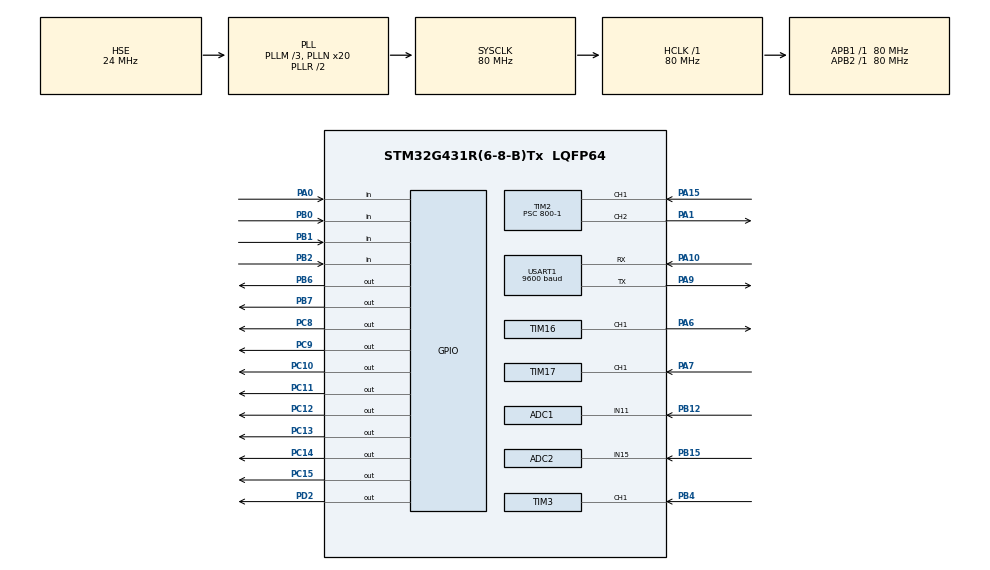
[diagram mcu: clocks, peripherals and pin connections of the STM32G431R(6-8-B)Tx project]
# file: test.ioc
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ADC1.Channel-1\#ChannelRegularConversion=ADC_CHANNEL_11
ADC1.NbrOfConversionFlag=1
ADC1.OffsetNumber-1\#ChannelRegularConversion=ADC_OFFSET_NONE
ADC1.Rank-1\#ChannelRegularConversion=1
ADC1.SamplingTime-1\#ChannelRegularConversion=ADC_SAMPLETIME_2CYCLES_5
ADC1.master=1
ADC2.Channel-0\#ChannelRegularConversion=ADC_CHANNEL_15
ADC2.NbrOfConversionFlag=1
ADC2.OffsetNumber-0\#ChannelRegularConversion=ADC_OFFSET_NONE
ADC2.Rank-0\#ChannelRegularConversion=1
ADC2.SamplingTime-0\#ChannelRegularConversion=ADC_SAMPLETIME_2CYCLES_5
Mcu.Family=STM32G4
Mcu.Name=STM32G431R(6-8-B)Tx
Mcu.Package=LQFP64
NVIC.PriorityGroup=NVIC_PRIORITYGROUP_4
NVIC.TIM1_TRG_COM_TIM17_IRQn=true\:0\:0\:false\:false\:true\:true\:true
NVIC.TIM2_IRQn=true\:0\:0\:false\:false\:true\:true\:true
NVIC.TIM3_IRQn=true\:0\:0\:false\:false\:true\:true\:true
NVIC.TIM4_IRQn=true\:0\:0\:false\:false\:true\:true\:true
NVIC.USART1_IRQn=true\:0\:0\:false\:false\:true\:true\:true
PA0.GPIO_PuPd=GPIO_PULLUP
PA0.Signal=GPIO_Input
PA1.Signal=S_TIM2_CH2
PA10.Mode=Asynchronous
PA10.Signal=USART1_RX
PA13.Mode=Serial_Wire
PA13.Signal=SYS_JTMS-SWDIO
PA14.Mode=Serial_Wire
PA14.Signal=SYS_JTCK-SWCLK
PA15.Signal=S_TIM2_CH1
PA6.Signal=S_TIM16_CH1
PA7.Signal=S_TIM17_CH1
PA9.Mode=Asynchronous
PA9.Signal=USART1_TX
PB0.GPIO_PuPd=GPIO_PULLUP
PB0.Signal=GPIO_Input
PB1.GPIO_PuPd=GPIO_PULLUP
PB1.Signal=GPIO_Input
PB12.Mode=IN11-Single-Ended
PB12.Signal=ADC1_IN11
PB15.Mode=IN15-Single-Ended
PB15.Signal=ADC2_IN15
PB2.GPIO_PuPd=GPIO_PULLUP
PB2.Signal=GPIO_Input
PB4.Signal=S_TIM3_CH1
PB6.Signal=GPIO_Output
PB7.Signal=GPIO_Output
PC10.PinState=GPIO_PIN_SET
PC10.Signal=GPIO_Output
PC11.PinState=GPIO_PIN_SET
PC11.Signal=GPIO_Output
PC12.PinState=GPIO_PIN_SET
PC12.Signal=GPIO_Output
PC13.PinState=GPIO_PIN_SET
PC13.Signal=GPIO_Output
PC14-OSC32_IN.PinState=GPIO_PIN_SET
PC14-OSC32_IN.Signal=GPIO_Output
PC15-OSC32_OUT.PinState=GPIO_PIN_SET
PC15-OSC32_OUT.Signal=GPIO_Output
PC8.PinState=GPIO_PIN_SET
PC8.Signal=GPIO_Output
PC9.PinState=GPIO_PIN_SET
PC9.Signal=GPIO_Output
PD2.Signal=GPIO_Output
PF0-OSC_IN.Mode=HSE-External-Oscillator
PF0-OSC_IN.Signal=RCC_OSC_IN
PF1-OSC_OUT.Mode=HSE-External-Oscillator
PF1-OSC_OUT.Signal=RCC_OSC_OUT
ProjectManager.HeapSize=0x200
ProjectManager.StackSize=0x400
ProjectManager.TargetToolchain=MDK-ARM V5.32
RCC.ADC12Freq_Value=80000000
RCC.AHBFreq_Value=80000000
RCC.APB1Freq_Value=80000000
RCC.APB1TimFreq_Value=80000000
RCC.APB2Freq_Value=80000000
RCC.APB2TimFreq_Value=80000000
RCC.CortexFreq_Value=80000000
RCC.EXTERNAL_CLOCK_VALUE=12288000
RCC.HCLKFreq_Value=80000000
RCC.HSE_VALUE=24000000
RCC.HSI48_VALUE=48000000
RCC.HSI_VALUE=16000000
RCC.LSE_VALUE=32768
RCC.PLLM=RCC_PLLM_DIV3
RCC.PLLN=20
RCC.PLLSourceVirtual=RCC_PLLSOURCE_HSE
RCC.RTCClockSelection=RCC_RTCCLKSOURCE_HSE_DIV32
RCC.SYSCLKFreq_VALUE=80000000
RCC.SYSCLKSource=RCC_SYSCLKSOURCE_PLLCLK
RCC.USBFreq_Value=80000000
RCC.VCOOutputFreq_Value=160000000
RTC.AsynchPrediv=125
RTC.Hours=23
RTC.Minutes=59
RTC.Month=RTC_MONTH_MARCH
RTC.Seconds=55
RTC.SynchPrediv=6000
RTC.WeekDay=RTC_WEEKDAY_FRIDAY
RTC.Year=24
SH.S_TIM16_CH1.0=TIM16_CH1,PWM Generation1 CH1
SH.S_TIM17_CH1.0=TIM17_CH1,Input_Capture1_from_TI1
SH.S_TIM2_CH1.0=TIM2_CH1,Input_Capture1_from_TI1
SH.S_TIM2_CH2.0=TIM2_CH2,PWM Generation2 CH2
SH.S_TIM3_CH1.0=TIM3_CH1,Input_Capture1_from_TI1
TIM16.Channel=TIM_CHANNEL_1
TIM16.PeriodNoDither=100-1
TIM16.Prescaler=8000-1
TIM16.PulseNoDither_1=20
TIM17.Channel=TIM_CHANNEL_1
TIM17.Prescaler=80-1
TIM2.Channel-Input_Capture1_from_TI1=TIM_CHANNEL_1
TIM2.Channel-PWM\ Generation2\ CH2=TIM_CHANNEL_2
TIM2.CounterMode=TIM_COUNTERMODE_UP
TIM2.PeriodNoDither=100
TIM2.Prescaler=800-1
TIM2.PulseNoDither_2=50
TIM3.Channel-Input_Capture1_from_TI1=TIM_CHANNEL_1
TIM3.Channel-Input_Capture2_from_TI1_63=TIM_CHANNEL_2
TIM3.Channel-Input_Capture2_from_TI2=TIM_CHANNEL_2
TIM3.Prescaler=80-1
TIM4.PeriodNoDither=10000-1
TIM4.Prescaler=80-1
USART1.BaudRate=9600
USART1.VirtualMode-Asynchronous=VM_ASYNC
VP_RTC_VS_RTC_Activate.Mode=RTC_Enabled
VP_RTC_VS_RTC_Calendar.Mode=RTC_Calendar
VP_SYS_VS_DBSignals.Mode=DisableDeadBatterySignals
VP_TIM16_VS_ClockSourceINT.Mode=Enable_Timer
VP_TIM17_VS_ClockSourceINT.Mode=Enable_Timer
VP_TIM2_VS_ClockSourceINT.Mode=Internal
VP_TIM3_VS_ClockSourceINT.Mode=Internal
VP_TIM3_VS_indirect_ch1.Mode=Input_Capture2_from_TI1_63
VP_TIM4_VS_ClockSourceINT.Mode=Internal
board=custom

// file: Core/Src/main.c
/* USER CODE BEGIN Header */
/**
 ******************************************************************************
 * @file           : main.c
 * @brief          : Main program body
 ******************************************************************************
 * @attention
 *
 * Copyright (c) 2024 STMicroelectronics.
 * All rights reserved.
 *
 * This software is licensed under terms that can be found in the LICENSE file
 * in the root directory of this software component.
 * If no LICENSE file comes with this software, it is provided AS-IS.
 *
 ******************************************************************************
 */
/* USER CODE END Header */
#include "main.h"
#include "adc.h"
#include "rtc.h"
#include "tim.h"
#include "usart.h"
#include "gpio.h"

/* USER CODE BEGIN Includes */
#include "LED.h"
#include "lcd.h"
#include "stdio.h"
#include "string.h"
#include "Key.h"
#include "interrupt.h"
#include "badc.h"
#include "i2c - hal.h"
#include "PWM.h"
/* USER CODE END Includes */

/* USER CODE BEGIN PTD */

/*执行速度控制变量*/
__IO uint32_t uwTick_LED_Speed_Ctrl;
__IO uint32_t uwTick_KEY_Speed_Ctrl;
__IO uint32_t uwTick_LCD_Speed_Ctrl;
__IO uint32_t uwTick_RTC_Speed_Ctrl;
__IO uint32_t uwTick_Time_Count;
__IO uint32_t uwTick_V_Count;

/* USER CODE END PTD */

/* USER CODE BEGIN PD */
/*全局变量区*/
uint8_t ucLED;

uint8_t LCD_String_Disp[21]; // 显示屏显示数据存储数组
uint8_t LCD_Disp_Change = 0; // 显示屏切换界面变量
uint8_t LCD_Line_Change = 0; // 显示屏选择行 1-第一行 2-第二行 3-第三行 默认为0不选择 无高亮文本

uint8_t PA6_duty = 10, PA7_duty = 10;
uint16_t PA6_Frq = 100, PA7_Frq = 200;

uint8_t EEPROM_Save[4] = {10, 10}; // EEPROM芯片中存取的数据
uint8_t EEPROM_Disp[4] = {10, 10}; // EEPROM数据显示数组

float ADC_Value;
uint8_t First_Charge = 0;
uint8_t PWM_Output_Mode = 0;                  // 0-低频 1-高频
uint8_t Mode_Change_Flag = 0;                 // 高低频切换标志位
uint8_t Mode_Change_Num = 0;                  // 高低频切换次数
float Hight_MAX_V = 0, Low_MAX_V = 0;         // 高低频最大速度
float Hight_MAX_V_Old = 0, Low_MAX_V_Old = 0; // 高低频最大速度旧值
float Big_flag;                               // 速度最大标志位
float Now_V = 0;                              // 实时速度

uint8_t PA1_duty = 50, PA1_duty_Lock_flag = 0; // PA1占空比 PA1占空比受控标志位
float PA1_K = 37.5f, PA1_B = -27.5f;
uint16_t PA1_Frq = 4000; // PA1频率变量

uint8_t PA7_K = 1, PA7_R = 1, PA7_K_buff = 1, PA7_R_buff = 1;

float PA7_V;

// 用于存储时间和日期的结构体
RTC_TimeTypeDef RTC_Time = {0};
RTC_DateTypeDef RTC_Date = {0};
char dateTimeBuffer[50]; // 存储日期时间字符串

/*拓展变量区*/
extern uint8_t single_key_flag[4]; // 按键单击
extern uint8_t double_key_flag[4]; // 按键双击
extern uint8_t long_key_flag[4];   // 按键长按
extern uint16_t frq1, frq2;        // 输入捕获测量的频率
extern float duty1, duty2;         // 占空比

extern char rxdata[30]; // 串口接收数组
extern uint8_t rxdat;
extern unsigned char rx_pointer;

/* USER CODE END PD */

/* USER CODE BEGIN PM */

/*子函数声明区*/

void LCD_Proc(void);
void KEY_Proc(void);
void LED_Proc(void);
void RTC_Proc(void);
void USART_Proc(void);

/* USER CODE END PM */

void SystemClock_Config(void);

int main(void)
{

  /* MCU Configuration--------------------------------------------------------*/

  /* Reset of all peripherals, Initializes the Flash interface and the Systick. */
  HAL_Init();

  /* Configure the system clock */
  SystemClock_Config();

  /* Initialize all configured peripherals */
  MX_GPIO_Init();
  MX_TIM2_Init();
  MX_TIM16_Init();
  MX_TIM17_Init();
  MX_TIM3_Init();
  MX_TIM4_Init();
  MX_ADC2_Init();
  MX_ADC1_Init();
  MX_USART1_UART_Init();
  MX_RTC_Init();
  /* USER CODE BEGIN 2 */

  /*LED灯初始化*/
  LED_Init();

  /*LCD显示屏初始化*/
  LCD_Init();
  LCD_Clear(Black);
  LCD_SetBackColor(Black);
  LCD_SetTextColor(White);

  /*定时器4基本中断开启,按键中断定时器 时间到就进中断检测按键是否按下*/
  HAL_TIM_Base_Start_IT(&htim4);

  /*定时器16通道1 PWM生成,PA6 引脚PWM生成定时器*/
  HAL_TIM_PWM_Start(&htim16, TIM_CHANNEL_1);

  /*定时器2通道2 PWM生成,PA1 引脚PWM生成定时器*/
  HAL_TIM_PWM_Start(&htim2, TIM_CHANNEL_2);

  // 初始化PA1输出4Khz
  PWM_Set_Frequency(&htim2, TIM_CHANNEL_2, 4000);

  __HAL_TIM_SET_COMPARE(&htim16, TIM_CHANNEL_1, PA6_duty);

  /*定时器17通道1 输入捕获中断开启,PA7引脚*/
  HAL_TIM_IC_Start_IT(&htim17, TIM_CHANNEL_1);

  /*定时器3通道1 输入捕获中断开启,PB4引脚*/
  HAL_TIM_IC_Start_IT(&htim3, TIM_CHANNEL_1);
  /*定时器3通道2 输入捕获中断开启,PB4引脚*/
  HAL_TIM_IC_Start_IT(&htim3, TIM_CHANNEL_2);

  HAL_ADCEx_Calibration_Start(&hadc1, ADC_SINGLE_ENDED); // 校准ADC1，PB12引脚
  HAL_ADCEx_Calibration_Start(&hadc2, ADC_SINGLE_ENDED); // 校准ADC2，PB15引脚

  /********************************串口接收中断开启***********************************************************/
  HAL_UART_Receive_IT(&huart1, &rxdat, 1);

  /********************************EEPROM存储读取***********************************************************/
  I2C_24c02_Read((uint8_t *)&EEPROM_Save[3], 0x37, 1); // 读取一次判断是否第一次上电

  if (EEPROM_Save[3] != 9) // 初次上电 占空比为10，10
  {
    EEPROM_Save[3] = 9; // 将该位的值改为9写入eeprom中 用于判断非第一次上电 确保再次上电读取eeprom中设置的阈值 以免第一次直接赋值0
    I2C_24c02_Write((uint8_t *)&EEPROM_Save[3], 0x37, 1);
    HAL_Delay(10);
    I2C_24c02_Write((uint8_t *)EEPROM_Save, 0x00, 2); // 将阈值写入EEPROM中
  }
  else // 再次上电读取eeprom中设置的阈值 更新显示的阈
  {
    I2C_24c02_Read(EEPROM_Save, 0x00, 2); // 读取EEPROM中的值
    HAL_Delay(10);
    EEPROM_Disp[0] = EEPROM_Save[0];
    EEPROM_Disp[1] = EEPROM_Save[1];
  }
  /********************************EEPROM存储读取***********************************************************/

  ADC_Value = Get_ADC_Average(&hadc2, 10);

  /* USER CODE END 2 */

  /* Infinite loop */
  while (1)
  {

    /* USER CODE BEGIN 3 */
    /*代码写在该行下面 否则会被初始化*/

    LCD_Proc();
    KEY_Proc();
    LED_Proc();
    RTC_Proc();

    if (rx_pointer != 0)
    {
      int temp = rx_pointer;
      HAL_Delay(1);
      if (temp == rx_pointer)
        USART_Proc(); // 完成接收
    }
  }
  /* USER CODE END 3 */
}

void SystemClock_Config(void)
{
  RCC_OscInitTypeDef RCC_OscInitStruct = {0};
  RCC_ClkInitTypeDef RCC_ClkInitStruct = {0};

  /** Configure the main internal regulator output voltage
   */
  HAL_PWREx_ControlVoltageScaling(PWR_REGULATOR_VOLTAGE_SCALE1);
  /** Initializes the RCC Oscillators according to the specified parameters
   * in the RCC_OscInitTypeDef structure.
   */
  RCC_OscInitStruct.OscillatorType = RCC_OSCILLATORTYPE_HSE;
  RCC_OscInitStruct.HSEState = RCC_HSE_ON;
  RCC_OscInitStruct.PLL.PLLState = RCC_PLL_ON;
  RCC_OscInitStruct.PLL.PLLSource = RCC_PLLSOURCE_HSE;
  RCC_OscInitStruct.PLL.PLLM = RCC_PLLM_DIV3;
  RCC_OscInitStruct.PLL.PLLN = 20;
  RCC_OscInitStruct.PLL.PLLP = RCC_PLLP_DIV2;
  RCC_OscInitStruct.PLL.PLLQ = RCC_PLLQ_DIV2;
  RCC_OscInitStruct.PLL.PLLR = RCC_PLLR_DIV2;
  if (HAL_RCC_OscConfig(&RCC_OscInitStruct) != HAL_OK)
  {
    Error_Handler();
  }
  /** Initializes the CPU, AHB and APB buses clocks
   */
  RCC_ClkInitStruct.ClockType = RCC_CLOCKTYPE_HCLK | RCC_CLOCKTYPE_SYSCLK | RCC_CLOCKTYPE_PCLK1 | RCC_CLOCKTYPE_PCLK2;
  RCC_ClkInitStruct.SYSCLKSource = RCC_SYSCLKSOURCE_PLLCLK;
  RCC_ClkInitStruct.AHBCLKDivider = RCC_SYSCLK_DIV1;
  RCC_ClkInitStruct.APB1CLKDivider = RCC_HCLK_DIV1;
  RCC_ClkInitStruct.APB2CLKDivider = RCC_HCLK_DIV1;

  if (HAL_RCC_ClockConfig(&RCC_ClkInitStruct, FLASH_LATENCY_2) != HAL_OK)
  {
    Error_Handler();
  }
}

/* USER CODE BEGIN 4 */

/*****************************************LED灯控制函数***************************************************/
void LED_Proc(void)
{
  if ((uwTick - uwTick_LED_Speed_Ctrl) < 100)
    return;
  uwTick_LED_Speed_Ctrl = uwTick; // 200ms执行一次

  if (LCD_Disp_Change == 0)
    ucLED |= 0x01;
  else
    ucLED &= 0x06;

  if (Mode_Change_Flag == 1)
    ucLED ^= 0x02;
  else
    ucLED &= 0x05;

  if (PA1_duty_Lock_flag)
    ucLED |= 0x04;
  else
    ucLED &= 0x03;

  // ucLED ^= 0x01;  //异或运算 相同为0，不同为1

  LED_Disp(ucLED);
}

/*****************************************显示屏控制函数***************************************************/
void LCD_Proc(void)
{
  if ((uwTick - uwTick_LCD_Speed_Ctrl) < 300)
    return;
  uwTick_LCD_Speed_Ctrl = uwTick;

  ADC_Value = Get_ADC_Average(&hadc2, 10);

  if (PA1_duty_Lock_flag == 0)
  {
    if (ADC_Value >= 1.0f && ADC_Value <= 3.0f)
      PA1_duty = PA1_K * ADC_Value + PA1_B;
    else if (ADC_Value < 1.0f)
      PA1_duty = 10;
    else if (ADC_Value > 3.0f)
      PA1_duty = 85;
  }

  PWM_Set_Duty(&htim2, TIM_CHANNEL_2, PA1_duty);

  Now_V = (frq1 * 2.0f * 3.14f * PA7_R) / (100.0f * PA7_K);

  if (PWM_Output_Mode)
  {
    if (Now_V > Hight_MAX_V && Big_flag == 0)
    {
      Big_flag = 1;
      Hight_MAX_V_Old = Now_V;
      uwTick_V_Count = uwTick;
    }

    if (uwTick - uwTick_V_Count > 2000 && Big_flag == 1)
    {
      if (Hight_MAX_V_Old == Now_V)
      {
        Hight_MAX_V = Now_V;
        Big_flag = 0;
      }
    }

    if (Now_V - Hight_MAX_V_Old >= 5)
    {
      Big_flag = 0;
    }
  }
  else
  {
    if (Now_V > Low_MAX_V && Big_flag == 0)
    {
      Big_flag = 1;
      Low_MAX_V_Old = Now_V;
      uwTick_V_Count = uwTick;
    }

    if (uwTick - uwTick_V_Count > 2000 && Big_flag == 1)
    {
      if (Low_MAX_V_Old == Now_V)
      {
        Low_MAX_V = Now_V;
        Big_flag = 0;
      }
    }

    if (Now_V - Low_MAX_V_Old >= 5)
    {
      Big_flag = 0;
    }
  }

  if (LCD_Disp_Change == 0)
  {
    LCD_SetTextColor(White); // 初始文本颜色 防止受上一个对文本颜色的改变影响

    memset(LCD_String_Disp, 0, sizeof(LCD_String_Disp));
    sprintf((char *)LCD_String_Disp, "DATA");
    LCD_DisplayStringAtLineColumn(Line2, Col9, LCD_String_Disp);

    memset(LCD_String_Disp, 0, sizeof(LCD_String_Disp));
    sprintf((char *)LCD_String_Disp, "M=%c     ", PWM_Output_Mode ? 'H' : 'L');
    LCD_DisplayStringAtLineColumn(Line4, Col6, LCD_String_Disp);

    memset(LCD_String_Disp, 0, sizeof(LCD_String_Disp));
    sprintf((char *)LCD_String_Disp, "P=%d%%   ", PA1_duty);
    LCD_DisplayStringAtLineColumn(Line5, Col6, LCD_String_Disp);

    memset(LCD_String_Disp, 0, sizeof(LCD_String_Disp));
    sprintf((char *)LCD_String_Disp, "V=%.1f   ", Now_V);
    LCD_DisplayStringAtLineColumn(Line6, Col6, LCD_String_Disp);

    memset(LCD_String_Disp, 0, sizeof(LCD_String_Disp));
    sprintf((char *)LCD_String_Disp, "%02d:%02d:%02d  ", RTC_Time.Hours, RTC_Time.Minutes, RTC_Time.Seconds);
    LCD_DisplayStringAtLineColumn(Line8, Col6, LCD_String_Disp);

    memset(LCD_String_Disp, 0, sizeof(LCD_String_Disp));
    sprintf((char *)LCD_String_Disp, "ADC:%.2f  ", ADC_Value);
    LCD_DisplayStringAtLineColumn(Line9, Col6, LCD_String_Disp);
  }
  else if (LCD_Disp_Change == 1)
  {
    LCD_SetTextColor(White); // 初始文本颜色 防止受上一个对文本颜色的改变影响

    memset(LCD_String_Disp, 0, sizeof(LCD_String_Disp));
    sprintf((char *)LCD_String_Disp, "PARA");
    LCD_DisplayStringAtLineColumn(Line2, Col9, LCD_String_Disp);

    memset(LCD_String_Disp, 0, sizeof(LCD_String_Disp));
    sprintf((char *)LCD_String_Disp, "R=%d   ", PA7_R_buff);
    if (LCD_Line_Change == 0)
      LCD_SetTextColor(Green);
    else
      LCD_SetTextColor(White);
    LCD_DisplayStringAtLineColumn(Line4, Col6, LCD_String_Disp);

    memset(LCD_String_Disp, 0, sizeof(LCD_String_Disp));
    sprintf((char *)LCD_String_Disp, "K=%d   ", PA7_K_buff);
    if (LCD_Line_Change == 1)
      LCD_SetTextColor(Green);
    else
      LCD_SetTextColor(White);
    LCD_DisplayStringAtLineColumn(Line5, Col6, LCD_String_Disp);
  }
  else
  {
    LCD_SetTextColor(White); // 初始文本颜色 防止受上一个对文本颜色的改变影响

    memset(LCD_String_Disp, 0, sizeof(LCD_String_Disp));
    sprintf((char *)LCD_String_Disp, "RECO");
    LCD_DisplayStringAtLineColumn(Line2, Col9, LCD_String_Disp);

    memset(LCD_String_Disp, 0, sizeof(LCD_String_Disp));
    sprintf((char *)LCD_String_Disp, "N=%d   ", Mode_Change_Num);
    LCD_DisplayStringAtLineColumn(Line4, Col6, LCD_String_Disp);

    memset(LCD_String_Disp, 0, sizeof(LCD_String_Disp));
    sprintf((char *)LCD_String_Disp, "MH=%.1f   ", Hight_MAX_V);
    LCD_DisplayStringAtLineColumn(Line5, Col6, LCD_String_Disp);

    memset(LCD_String_Disp, 0, sizeof(LCD_String_Disp));
    sprintf((char *)LCD_String_Disp, "ML=%.1f   ", Low_MAX_V);
    LCD_DisplayStringAtLineColumn(Line6, Col6, LCD_String_Disp);
  }
}
/*****************************************按键控制函数***************************************************/
void KEY_Proc(void)
{
  if ((uwTick - uwTick_KEY_Speed_Ctrl) < 50)
    return;
  uwTick_KEY_Speed_Ctrl = uwTick; // 50ms执行一次

  if (single_key_flag[0] == 1) // 按键1单击刷新显示屏
  {
    LCD_Disp_Change += 1; // 0-数据界面 1-参数界面 2-记录界面
    if (LCD_Disp_Change == 3)
      LCD_Disp_Change = 0;

    PA7_R = PA7_R_buff;
    PA7_K = PA7_K_buff;

    if (LCD_Disp_Change == 0) // 返回主界面时保存设置的值
    {
      LCD_Line_Change = 0;
    }
    LCD_Clear(Black);
    single_key_flag[0] = 0;
  }

  if (single_key_flag[1] == 1) // 按键2单击
  {
    if (LCD_Disp_Change == 0) // 数据界面
    {
      // 切换高低频模式，且5s内不能再次切换
      if (uwTick - uwTick_Time_Count > 5000 || First_Charge == 0)
      {
        uwTick_Time_Count = uwTick;
        Mode_Change_Flag = 1;
        First_Charge = 1;
        Mode_Change_Num++;
      }
    }

    if (LCD_Disp_Change == 1)
    {
      // 切换选择R或K的参数
      LCD_Line_Change ^= 0x01;
    }
    single_key_flag[1] = 0;
  }

  if (single_key_flag[2] == 1) // 按键3单击
  {
    if (LCD_Disp_Change == 1) // 参数界面
    {
      if (LCD_Line_Change == 0) // 设定第一行
      {
        // R++
        PA7_R_buff++;
        if (PA7_R_buff > 10)
          PA7_R_buff = 1;
      }
      else if (LCD_Line_Change == 1) // 设定第二行
      {
        // K++
        PA7_K_buff++;
        if (PA7_K_buff > 10)
          PA7_K_buff = 1;
      }
    }
    single_key_flag[2] = 0;
  }

  if (single_key_flag[3] == 1) // 按键4单击
  {
    if (LCD_Disp_Change == 1) // 参数界面
    {
      if (LCD_Line_Change == 0) // 设定第一行
      {
        // R++
        PA7_R_buff--;
        if (PA7_R_buff < 1)
          PA7_R_buff = 10;
      }
      else if (LCD_Line_Change == 1) // 设定第二行
      {
        // K++
        PA7_K_buff--;
        if (PA7_K_buff < 1)
          PA7_K_buff = 10;
      }
    }
    else if (LCD_Disp_Change == 0)
    {
      // 解锁占空比调整功能
      PA1_duty_Lock_flag = 0;
    }

    single_key_flag[3] = 0;
  }

  if (long_key_flag[3] == 1)
  {
    if (LCD_Disp_Change == 0) // 数据界面
    {
      // 锁定占空比调整功能
      PA1_duty_Lock_flag = 1;
      long_key_flag[3] = 0;
    }
  }
}

/*****************************************串口接收函数***************************************************/
void USART_Proc(void)
{

  if (rx_pointer > 0)
  {
    if (rx_pointer == 1)
    {
      if (rxdata[0] == 'C')
      {
        printf("F:%.2f\r\n", duty1);
      }

      else if (rxdata[0] == 'S')
      {
        printf("ADC1:%.2f\r\n", Get_ADC(&hadc1));
      }
      else
      {
        printf("Error\r\n");
      }
    }

    rx_pointer = 0;
    memset(rxdata, 0, 30);
  }
}

/*RTC时钟配置*/
void RTC_Proc(void)
{
  if ((uwTick - uwTick_RTC_Speed_Ctrl) < 250)
    return;
  uwTick_RTC_Speed_Ctrl = uwTick; // 0.25s执行一次

  if (Mode_Change_Flag == 1) // 按下模式切换键
  {
    if (PWM_Output_Mode == 0) // 低频切高频
    {
      PA1_Frq += 200;
      if (PA1_Frq >= 8000)
      {
        PA1_Frq = 8000;
        Mode_Change_Flag = 0;
        PWM_Output_Mode = 1; // 显示为高频
      }
      PWM_Set_Frequency(&htim2, TIM_CHANNEL_2, PA1_Frq);
    }
    else if (PWM_Output_Mode == 1)
    {
      PA1_Frq -= 200;
      if (PA1_Frq <= 4000)
      {
        PA1_Frq = 4000;
        Mode_Change_Flag = 0;
        PWM_Output_Mode = 0; // 显示为高频
      }
      PWM_Set_Frequency(&htim2, TIM_CHANNEL_2, PA1_Frq);
    }
  }

  // 获取当前时间和日期
  HAL_RTC_GetTime(&hrtc, &RTC_Time, RTC_FORMAT_BIN);
  HAL_RTC_GetDate(&hrtc, &RTC_Date, RTC_FORMAT_BIN);

  // printf("Date: %02d-%02d-%02d Time: %02d:%02d:%02d\r\n", RTC_Date.Year, RTC_Date.Month, RTC_Date.Date,
  //        RTC_Time.Hours, RTC_Time.Minutes, RTC_Time.Seconds);
}

/*串口重定向*/
int fputc(int ch, FILE *f)
{
  char c = ch;
  HAL_UART_Transmit(&huart1, (uint8_t *)&c, 1, 50);
  return ch;
}

/* USER CODE END 4 */

void Error_Handler(void)
{
  __disable_irq();
  while (1)
  {
  }
}
